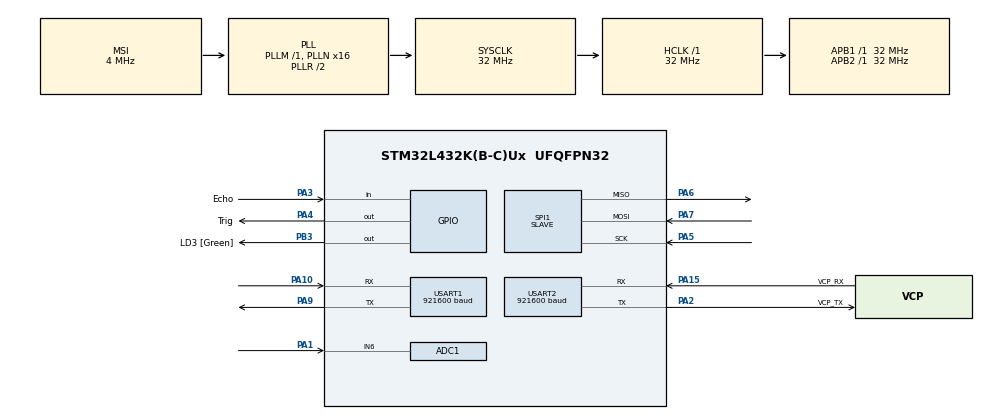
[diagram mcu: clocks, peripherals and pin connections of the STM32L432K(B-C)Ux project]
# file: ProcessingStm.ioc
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ADC1.Channel-0\#ChannelRegularConversion=ADC_CHANNEL_6
ADC1.NbrOfConversionFlag=1
ADC1.OffsetNumber-0\#ChannelRegularConversion=ADC_OFFSET_NONE
ADC1.Rank-0\#ChannelRegularConversion=1
ADC1.Resolution=ADC_RESOLUTION_8B
ADC1.SamplingTime-0\#ChannelRegularConversion=ADC_SAMPLETIME_2CYCLES_5
ADC1.ScanConvMode-ADC_Settings=ADC_SCAN_ENABLE
ADC1.master=1
Dma.Request0=USART2_TX
Dma.USART2_TX.0.Direction=DMA_MEMORY_TO_PERIPH
Dma.USART2_TX.0.Instance=DMA1_Channel7
Dma.USART2_TX.0.MemDataAlignment=DMA_MDATAALIGN_BYTE
Dma.USART2_TX.0.MemInc=DMA_MINC_ENABLE
Dma.USART2_TX.0.Mode=DMA_NORMAL
Dma.USART2_TX.0.PeriphDataAlignment=DMA_PDATAALIGN_BYTE
Dma.USART2_TX.0.PeriphInc=DMA_PINC_DISABLE
Dma.USART2_TX.0.Priority=DMA_PRIORITY_LOW
Mcu.Family=STM32L4
Mcu.Name=STM32L432K(B-C)Ux
Mcu.Package=UFQFPN32
NVIC.DMA1_Channel7_IRQn=true\:0\:0\:false\:false\:true\:false\:true\:true
NVIC.PriorityGroup=NVIC_PRIORITYGROUP_4
NVIC.SPI1_IRQn=true\:0\:0\:false\:false\:true\:true\:true\:true
NVIC.USART2_IRQn=true\:0\:0\:false\:false\:true\:true\:true\:true
PA0.GPIO_Label=MCO [High speed clock in]
PA0.Mode=HSE-External-Clock-Source-for-LittleOrca
PA0.Signal=RCC_CK_IN
PA1.Signal=ADCx_IN6
PA10.Mode=Asynchronous
PA10.Signal=USART1_RX
PA13\ (JTMS-SWDIO).GPIO_Label=SWDIO
PA13\ (JTMS-SWDIO).Mode=Serial_Wire
PA13\ (JTMS-SWDIO).Signal=SYS_JTMS-SWDIO
PA14\ (JTCK-SWCLK).GPIO_Label=SWCLK
PA14\ (JTCK-SWCLK).Mode=Serial_Wire
PA14\ (JTCK-SWCLK).Signal=SYS_JTCK-SWCLK
PA15\ (JTDI).GPIO_Label=VCP_RX
PA15\ (JTDI).Mode=Asynchronous
PA15\ (JTDI).Signal=USART2_RX
PA2.GPIO_Label=VCP_TX
PA2.Mode=Asynchronous
PA2.Signal=USART2_TX
PA3.GPIO_Label=Echo
PA3.Signal=GPIO_Input
PA4.GPIO_Label=Trig
PA4.Signal=GPIO_Output
PA5.Mode=Full_Duplex_Slave
PA5.Signal=SPI1_SCK
PA6.Mode=Full_Duplex_Slave
PA6.Signal=SPI1_MISO
PA7.Mode=Full_Duplex_Slave
PA7.Signal=SPI1_MOSI
PA9.Mode=Asynchronous
PA9.Signal=USART1_TX
PB3\ (JTDO-TRACESWO).GPIO_Label=LD3 [Green]
PB3\ (JTDO-TRACESWO).Signal=GPIO_Output
PC14-OSC32_IN\ (PC14).Mode=LSE-External-Oscillator
PC14-OSC32_IN\ (PC14).Signal=RCC_OSC32_IN
PC15-OSC32_OUT\ (PC15).Mode=LSE-External-Oscillator
PC15-OSC32_OUT\ (PC15).Signal=RCC_OSC32_OUT
ProjectManager.HeapSize=0x200
ProjectManager.StackSize=0x400
ProjectManager.TargetToolchain=STM32CubeIDE
RCC.ADCFreq_Value=32000000
RCC.AHBFreq_Value=32000000
RCC.APB1Freq_Value=32000000
RCC.APB1TimFreq_Value=32000000
RCC.APB2Freq_Value=32000000
RCC.APB2TimFreq_Value=32000000
RCC.CortexFreq_Value=32000000
RCC.HCLKFreq_Value=32000000
RCC.HSE_VALUE=8000000
RCC.HSI16_VALUE=16000000
RCC.HSI48_VALUE=48000000
RCC.HSI_VALUE=16000000
RCC.MSI_VALUE=4000000
RCC.PLLMUL=RCC_PLLMUL_4
RCC.PLLN=16
RCC.PLLSAI1N=16
RCC.SYSCLKFreq_VALUE=32000000
RCC.SYSCLKSource=RCC_SYSCLKSOURCE_PLLCLK
RCC.USBFreq_Value=32000000
RCC.VCOOutputFreq_Value=64000000
SH.ADCx_IN6.0=ADC1_IN6,IN6-Single-Ended
SPI1.DataSize=SPI_DATASIZE_8BIT
SPI1.Direction=SPI_DIRECTION_2LINES
SPI1.Mode=SPI_MODE_SLAVE
SPI1.VirtualType=VM_SLAVE
TIM16.Prescaler=31
USART1.BaudRate=921600
USART1.VirtualMode-Asynchronous=VM_ASYNC
USART2.BaudRate=921600
USART2.VirtualMode-Asynchronous=VM_ASYNC
VP_TIM16_VS_ClockSourceINT.Mode=Enable_Timer
board=NUCLEO-L432KC

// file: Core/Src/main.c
/* USER CODE BEGIN Header */
/**
  ******************************************************************************
  * @file           : main.c
  * @brief          : Main program body
  ******************************************************************************
  * @attention
  *
  * Copyright (c) 2025 STMicroelectronics.
  * All rights reserved.
  *
  * This software is licensed under terms that can be found in the LICENSE file
  * in the root directory of this software component.
  * If no LICENSE file comes with this software, it is provided AS-IS.
  *
  ******************************************************************************
  */
/* USER CODE END Header */
#include "main.h"

ADC_HandleTypeDef hadc1;

SPI_HandleTypeDef hspi1;

TIM_HandleTypeDef htim16;

UART_HandleTypeDef huart1;
UART_HandleTypeDef huart2;
DMA_HandleTypeDef hdma_usart2_tx;

void SystemClock_Config(void);
static void MX_GPIO_Init(void);
static void MX_DMA_Init(void);
static void MX_USART2_UART_Init(void);
static void MX_USART1_UART_Init(void);
static void MX_ADC1_Init(void);
static void MX_TIM16_Init(void);
static void MX_SPI1_Init(void);

/* USER CODE BEGIN 0 */

uint8_t rxBuffer[2] = {0};
uint8_t prevBuffer[2*3] = {0};

uint8_t rxBuffer2[3] = {0};

uint16_t sample;

uint8_t operatingMode = 1; // 1 = manual triggering, 2 = distance triggering

uint8_t distanceSetting = 10; // init to 10

uint8_t distanceSend = 0;

#define MANUAL_MODE 0x8F
#define DISTANCE_MODE 0x90

void HAL_UART_RxCpltCallback(UART_HandleTypeDef *huart)
{
	if (huart->Instance == USART1)
	{
		/*HAL_UART_Transmit(&huart2, rxBuffer, 1, HAL_MAX_DELAY);
		HAL_UART_Receive_IT(&huart1, rxBuffer, 1);*/
	}
	else if (huart->Instance == USART2)
	{
		//HAL_GPIO_TogglePin(LD3_GPIO_Port, LD3_Pin);

		if (rxBuffer2[1] == DISTANCE_MODE)
		{
			distanceSetting = rxBuffer2[2];
			operatingMode = 2;
		}

		else if (rxBuffer2[1] == MANUAL_MODE)
		{
			operatingMode = 1;
		}

		HAL_UART_Receive_IT(&huart2, rxBuffer2, 3);

	}
}
uint8_t sendBuffer[2];

void HAL_UART_TxCpltCallback(UART_HandleTypeDef *huart)
{
	//HAL_GPIO_TogglePin(LD3_GPIO_Port, LD3_Pin);
	sendBuffer[0] = (rxBuffer[0] + prevBuffer[0])>>1;
	sendBuffer[1] = (rxBuffer[1] + prevBuffer[1])>>1;

	prevBuffer[0] = rxBuffer[0];
	prevBuffer[1] = rxBuffer[1];
}

void HAL_SPI_RxCpltCallback(SPI_HandleTypeDef * hspi)
{

	if (operatingMode == 2)
	{
		sendBuffer[0] = rxBuffer[0] * distanceSend;
		sendBuffer[1] = rxBuffer[1] * distanceSend;
		HAL_UART_Transmit_IT(&huart2, sendBuffer, 2);
	}

	else
	{HAL_UART_Transmit_IT(&huart2, rxBuffer, 2);}

	//HAL_GPIO_TogglePin(LD3_GPIO_Port,LD3_Pin);
	HAL_SPI_Receive_IT(&hspi1, rxBuffer, 2);
}

/* USER CODE END 0 */

int main(void)
{

  /* MCU Configuration--------------------------------------------------------*/

  /* Reset of all peripherals, Initializes the Flash interface and the Systick. */
  HAL_Init();

  /* Configure the system clock */
  SystemClock_Config();

  /* Initialize all configured peripherals */
  MX_GPIO_Init();
  MX_DMA_Init();
  MX_USART2_UART_Init();
  MX_USART1_UART_Init();
  MX_ADC1_Init();
  MX_TIM16_Init();
  MX_SPI1_Init();
  /* USER CODE BEGIN 2 */

  //HAL_UART_Receive_IT (&huart1, rxBuffer, 1);
  HAL_SPI_Receive_IT(&hspi1, rxBuffer, 2);
  HAL_UART_Receive_IT (&huart2, rxBuffer2, 3);

  /* USER CODE END 2 */

  /* Infinite loop */
  /* USER CODE BEGIN WHILE */

  uint16_t period;
  uint16_t distance;
  HAL_TIM_Base_Start(&htim16);

  while (1)
  {
    /* USER CODE END WHILE */

    /* USER CODE BEGIN 3 */
	  // Task 2
	  if (operatingMode == 2)
	  {
	  	  __HAL_TIM_SET_COUNTER(&htim16,0);
	  	  HAL_GPIO_WritePin(Trig_GPIO_Port,Trig_Pin,1);
	  	  while (__HAL_TIM_GET_COUNTER(&htim16)<10);

	  	  HAL_GPIO_WritePin(Trig_GPIO_Port,Trig_Pin,0);

	  	  while (HAL_GPIO_ReadPin(Echo_GPIO_Port,Echo_Pin)==0);

	  	  __HAL_TIM_SET_COUNTER(&htim16,0);

	  	  while (HAL_GPIO_ReadPin(Echo_GPIO_Port,Echo_Pin)==1);

	  	  period = __HAL_TIM_GET_COUNTER(&htim16);

	  	  distance = period/58.3;

	  	  if (distance < distanceSetting){
	  		  distanceSend = 1;
	  		  HAL_GPIO_WritePin(LD3_GPIO_Port,LD3_Pin,1);

	  	  }else{
	  		  distanceSend = 0;
	  		  HAL_GPIO_WritePin(LD3_GPIO_Port,LD3_Pin,0);
	  	  }

	  	  HAL_Delay(60);
	  }
	  else if (operatingMode == 1)
	  {
		  //HAL_GPIO_WritePin(LD3_GPIO_Port, LD3_Pin, 1);
	  }
  }
  /* USER CODE END 3 */
}

void SystemClock_Config(void)
{
  RCC_OscInitTypeDef RCC_OscInitStruct = {0};
  RCC_ClkInitTypeDef RCC_ClkInitStruct = {0};

  /** Configure the main internal regulator output voltage
  */
  if (HAL_PWREx_ControlVoltageScaling(PWR_REGULATOR_VOLTAGE_SCALE1) != HAL_OK)
  {
    Error_Handler();
  }

  /** Configure LSE Drive Capability
  */
  HAL_PWR_EnableBkUpAccess();
  __HAL_RCC_LSEDRIVE_CONFIG(RCC_LSEDRIVE_LOW);

  /** Initializes the RCC Oscillators according to the specified parameters
  * in the RCC_OscInitTypeDef structure.
  */
  RCC_OscInitStruct.OscillatorType = RCC_OSCILLATORTYPE_LSE|RCC_OSCILLATORTYPE_MSI;
  RCC_OscInitStruct.LSEState = RCC_LSE_ON;
  RCC_OscInitStruct.MSIState = RCC_MSI_ON;
  RCC_OscInitStruct.MSICalibrationValue = 0;
  RCC_OscInitStruct.MSIClockRange = RCC_MSIRANGE_6;
  RCC_OscInitStruct.PLL.PLLState = RCC_PLL_ON;
  RCC_OscInitStruct.PLL.PLLSource = RCC_PLLSOURCE_MSI;
  RCC_OscInitStruct.PLL.PLLM = 1;
  RCC_OscInitStruct.PLL.PLLN = 16;
  RCC_OscInitStruct.PLL.PLLP = RCC_PLLP_DIV7;
  RCC_OscInitStruct.PLL.PLLQ = RCC_PLLQ_DIV2;
  RCC_OscInitStruct.PLL.PLLR = RCC_PLLR_DIV2;
  if (HAL_RCC_OscConfig(&RCC_OscInitStruct) != HAL_OK)
  {
    Error_Handler();
  }

  /** Initializes the CPU, AHB and APB buses clocks
  */
  RCC_ClkInitStruct.ClockType = RCC_CLOCKTYPE_HCLK|RCC_CLOCKTYPE_SYSCLK
                              |RCC_CLOCKTYPE_PCLK1|RCC_CLOCKTYPE_PCLK2;
  RCC_ClkInitStruct.SYSCLKSource = RCC_SYSCLKSOURCE_PLLCLK;
  RCC_ClkInitStruct.AHBCLKDivider = RCC_SYSCLK_DIV1;
  RCC_ClkInitStruct.APB1CLKDivider = RCC_HCLK_DIV1;
  RCC_ClkInitStruct.APB2CLKDivider = RCC_HCLK_DIV1;

  if (HAL_RCC_ClockConfig(&RCC_ClkInitStruct, FLASH_LATENCY_1) != HAL_OK)
  {
    Error_Handler();
  }

  /** Enable MSI Auto calibration
  */
  HAL_RCCEx_EnableMSIPLLMode();
}

static void MX_ADC1_Init(void)
{

  ADC_ChannelConfTypeDef sConfig = {0};

  /** Common config
  */
  hadc1.Instance = ADC1;
  hadc1.Init.ClockPrescaler = ADC_CLOCK_ASYNC_DIV1;
  hadc1.Init.Resolution = ADC_RESOLUTION_8B;
  hadc1.Init.DataAlign = ADC_DATAALIGN_RIGHT;
  hadc1.Init.ScanConvMode = ADC_SCAN_DISABLE;
  hadc1.Init.EOCSelection = ADC_EOC_SINGLE_CONV;
  hadc1.Init.LowPowerAutoWait = DISABLE;
  hadc1.Init.ContinuousConvMode = DISABLE;
  hadc1.Init.NbrOfConversion = 1;
  hadc1.Init.DiscontinuousConvMode = DISABLE;
  hadc1.Init.ExternalTrigConv = ADC_SOFTWARE_START;
  hadc1.Init.ExternalTrigConvEdge = ADC_EXTERNALTRIGCONVEDGE_NONE;
  hadc1.Init.DMAContinuousRequests = DISABLE;
  hadc1.Init.Overrun = ADC_OVR_DATA_PRESERVED;
  hadc1.Init.OversamplingMode = DISABLE;
  if (HAL_ADC_Init(&hadc1) != HAL_OK)
  {
    Error_Handler();
  }

  /** Configure Regular Channel
  */
  sConfig.Channel = ADC_CHANNEL_6;
  sConfig.Rank = ADC_REGULAR_RANK_1;
  sConfig.SamplingTime = ADC_SAMPLETIME_2CYCLES_5;
  sConfig.SingleDiff = ADC_SINGLE_ENDED;
  sConfig.OffsetNumber = ADC_OFFSET_NONE;
  sConfig.Offset = 0;
  if (HAL_ADC_ConfigChannel(&hadc1, &sConfig) != HAL_OK)
  {
    Error_Handler();
  }

}

static void MX_SPI1_Init(void)
{

  /* SPI1 parameter configuration*/
  hspi1.Instance = SPI1;
  hspi1.Init.Mode = SPI_MODE_SLAVE;
  hspi1.Init.Direction = SPI_DIRECTION_2LINES;
  hspi1.Init.DataSize = SPI_DATASIZE_8BIT;
  hspi1.Init.CLKPolarity = SPI_POLARITY_LOW;
  hspi1.Init.CLKPhase = SPI_PHASE_1EDGE;
  hspi1.Init.NSS = SPI_NSS_SOFT;
  hspi1.Init.FirstBit = SPI_FIRSTBIT_MSB;
  hspi1.Init.TIMode = SPI_TIMODE_DISABLE;
  hspi1.Init.CRCCalculation = SPI_CRCCALCULATION_DISABLE;
  hspi1.Init.CRCPolynomial = 7;
  hspi1.Init.CRCLength = SPI_CRC_LENGTH_DATASIZE;
  hspi1.Init.NSSPMode = SPI_NSS_PULSE_DISABLE;
  if (HAL_SPI_Init(&hspi1) != HAL_OK)
  {
    Error_Handler();
  }

}

static void MX_TIM16_Init(void)
{

  htim16.Instance = TIM16;
  htim16.Init.Prescaler = 31;
  htim16.Init.CounterMode = TIM_COUNTERMODE_UP;
  htim16.Init.Period = 65535;
  htim16.Init.ClockDivision = TIM_CLOCKDIVISION_DIV1;
  htim16.Init.RepetitionCounter = 0;
  htim16.Init.AutoReloadPreload = TIM_AUTORELOAD_PRELOAD_DISABLE;
  if (HAL_TIM_Base_Init(&htim16) != HAL_OK)
  {
    Error_Handler();
  }

}

static void MX_USART1_UART_Init(void)
{

  huart1.Instance = USART1;
  huart1.Init.BaudRate = 921600;
  huart1.Init.WordLength = UART_WORDLENGTH_8B;
  huart1.Init.StopBits = UART_STOPBITS_1;
  huart1.Init.Parity = UART_PARITY_NONE;
  huart1.Init.Mode = UART_MODE_TX_RX;
  huart1.Init.HwFlowCtl = UART_HWCONTROL_NONE;
  huart1.Init.OverSampling = UART_OVERSAMPLING_16;
  huart1.Init.OneBitSampling = UART_ONE_BIT_SAMPLE_DISABLE;
  huart1.AdvancedInit.AdvFeatureInit = UART_ADVFEATURE_NO_INIT;
  if (HAL_UART_Init(&huart1) != HAL_OK)
  {
    Error_Handler();
  }

}

static void MX_USART2_UART_Init(void)
{

  huart2.Instance = USART2;
  huart2.Init.BaudRate = 921600;
  huart2.Init.WordLength = UART_WORDLENGTH_8B;
  huart2.Init.StopBits = UART_STOPBITS_1;
  huart2.Init.Parity = UART_PARITY_NONE;
  huart2.Init.Mode = UART_MODE_TX_RX;
  huart2.Init.HwFlowCtl = UART_HWCONTROL_NONE;
  huart2.Init.OverSampling = UART_OVERSAMPLING_16;
  huart2.Init.OneBitSampling = UART_ONE_BIT_SAMPLE_DISABLE;
  huart2.AdvancedInit.AdvFeatureInit = UART_ADVFEATURE_NO_INIT;
  if (HAL_UART_Init(&huart2) != HAL_OK)
  {
    Error_Handler();
  }

}

static void MX_DMA_Init(void)
{

  /* DMA controller clock enable */
  __HAL_RCC_DMA1_CLK_ENABLE();

  /* DMA interrupt init */
  /* DMA1_Channel7_IRQn interrupt configuration */
  HAL_NVIC_SetPriority(DMA1_Channel7_IRQn, 0, 0);
  HAL_NVIC_EnableIRQ(DMA1_Channel7_IRQn);

}

static void MX_GPIO_Init(void)
{
  GPIO_InitTypeDef GPIO_InitStruct = {0};

  /* GPIO Ports Clock Enable */
  __HAL_RCC_GPIOC_CLK_ENABLE();
  __HAL_RCC_GPIOA_CLK_ENABLE();
  __HAL_RCC_GPIOB_CLK_ENABLE();

  /*Configure GPIO pin Output Level */
  HAL_GPIO_WritePin(Trig_GPIO_Port, Trig_Pin, GPIO_PIN_RESET);

  /*Configure GPIO pin Output Level */
  HAL_GPIO_WritePin(LD3_GPIO_Port, LD3_Pin, GPIO_PIN_RESET);

  /*Configure GPIO pin : Echo_Pin */
  GPIO_InitStruct.Pin = Echo_Pin;
  GPIO_InitStruct.Mode = GPIO_MODE_INPUT;
  GPIO_InitStruct.Pull = GPIO_NOPULL;
  HAL_GPIO_Init(Echo_GPIO_Port, &GPIO_InitStruct);

  /*Configure GPIO pin : Trig_Pin */
  GPIO_InitStruct.Pin = Trig_Pin;
  GPIO_InitStruct.Mode = GPIO_MODE_OUTPUT_PP;
  GPIO_InitStruct.Pull = GPIO_NOPULL;
  GPIO_InitStruct.Speed = GPIO_SPEED_FREQ_LOW;
  HAL_GPIO_Init(Trig_GPIO_Port, &GPIO_InitStruct);

  /*Configure GPIO pin : LD3_Pin */
  GPIO_InitStruct.Pin = LD3_Pin;
  GPIO_InitStruct.Mode = GPIO_MODE_OUTPUT_PP;
  GPIO_InitStruct.Pull = GPIO_NOPULL;
  GPIO_InitStruct.Speed = GPIO_SPEED_FREQ_LOW;
  HAL_GPIO_Init(LD3_GPIO_Port, &GPIO_InitStruct);

  /* USER CODE BEGIN MX_GPIO_Init_2 */
  GPIO_InitStruct.Pin = GPIO_PIN_5 | GPIO_PIN_6 | GPIO_PIN_7;
    GPIO_InitStruct.Mode = GPIO_MODE_AF_PP;
    GPIO_InitStruct.Pull = GPIO_NOPULL;
    GPIO_InitStruct.Speed = GPIO_SPEED_FREQ_HIGH;
    HAL_GPIO_Init(GPIOA, &GPIO_InitStruct);
  /* USER CODE END MX_GPIO_Init_2 */
}

void Error_Handler(void)
{
  __disable_irq();
  while (1)
  {
  }
}
